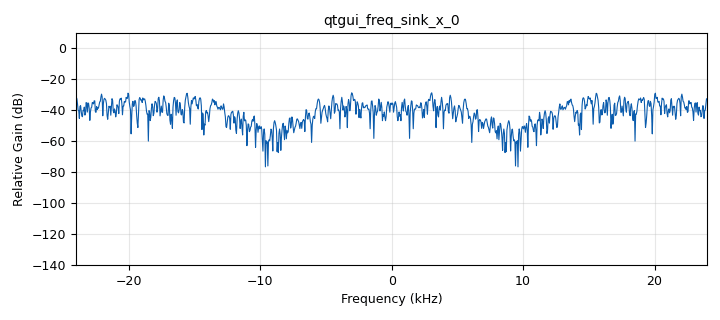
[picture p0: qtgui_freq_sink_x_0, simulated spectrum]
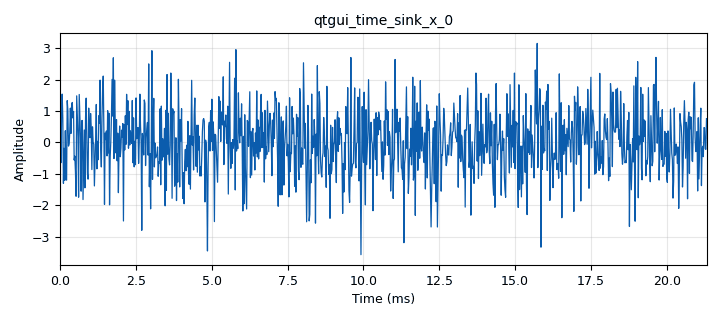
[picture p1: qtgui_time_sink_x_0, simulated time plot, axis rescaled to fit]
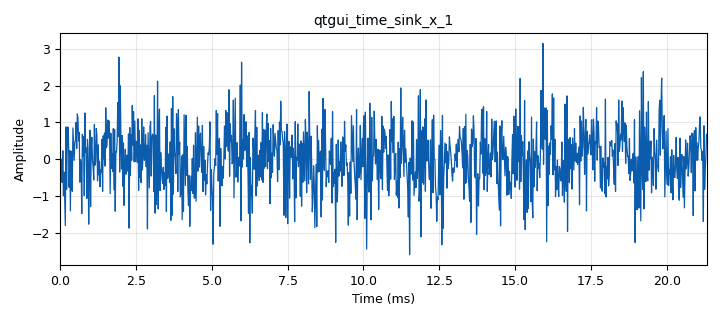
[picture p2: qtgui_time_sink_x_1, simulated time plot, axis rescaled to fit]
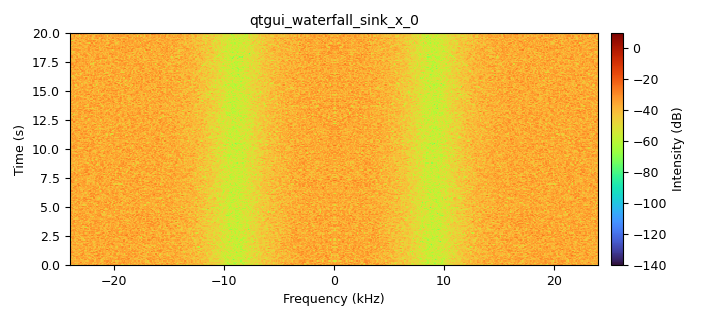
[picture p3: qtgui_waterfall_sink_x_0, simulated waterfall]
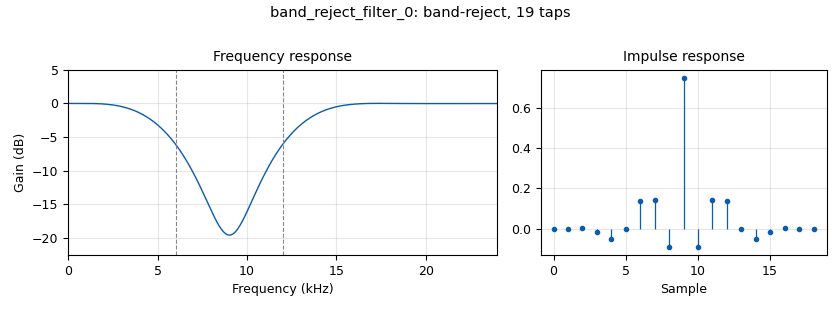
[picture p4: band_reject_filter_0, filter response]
options:
  parameters:
    generate_options: qt_gui
    id: bandstop
    output_language: python
    title: Not titled yet
  states: {}

blocks:
- name: cutoff
  id: variable_qtgui_range
  parameters:
    orient: Qt.Horizontal
    start: samp_rate/1000
    step: '1000'
    stop: samp_rate/2
    value: samp_rate/8
  states: {}
- name: highcut
  id: variable_qtgui_range
  parameters:
    orient: Qt.Horizontal
    start: samp_rate/1000
    step: '1000'
    stop: samp_rate/2
    value: samp_rate/4
  states: {}
- name: samp_rate
  id: variable
  parameters:
    value: '48000'
  states: {}
- name: transition
  id: variable_qtgui_range
  parameters:
    orient: Qt.Horizontal
    start: samp_rate/1000
    step: '1000'
    stop: samp_rate/2
    value: samp_rate/8
  states: {}
- name: analog_noise_source_x_0
  id: analog_noise_source_x
  parameters:
    amp: '1'
    noise_type: analog.GR_GAUSSIAN
    seed: '0'
    type: float
  states: {}
- name: band_reject_filter_0
  id: band_reject_filter
  parameters:
    decim: '1'
    gain: '1'
    high_cutoff_freq: highcut
    low_cutoff_freq: cutoff
    samp_rate: samp_rate
    type: fir_filter_fff
    width: transition
    win: firdes.WIN_HAMMING
  states: {}
- name: blocks_throttle_0
  id: blocks_throttle
  parameters:
    samples_per_second: samp_rate
    type: float
  states: {}
- name: qtgui_freq_sink_x_0
  id: qtgui_freq_sink_x
  parameters:
    bw: samp_rate
    fc: '0'
    fftsize: '1024'
    type: float
    wintype: firdes.WIN_BLACKMAN_hARRIS
  states: {}
- name: qtgui_time_sink_x_0
  id: qtgui_time_sink_x
  parameters:
    size: '1024'
    srate: samp_rate
    type: float
  states: {}
- name: qtgui_time_sink_x_1
  id: qtgui_time_sink_x
  parameters:
    size: '1024'
    srate: samp_rate
    type: float
  states: {}
- name: qtgui_waterfall_sink_x_0
  id: qtgui_waterfall_sink_x
  parameters:
    bw: samp_rate
    fc: '0'
    fftsize: '1024'
    type: float
    wintype: firdes.WIN_BLACKMAN_hARRIS
  states: {}

connections:
- [analog_noise_source_x_0, '0', blocks_throttle_0, '0']
- [band_reject_filter_0, '0', qtgui_freq_sink_x_0, '0']
- [band_reject_filter_0, '0', qtgui_time_sink_x_1, '0']
- [band_reject_filter_0, '0', qtgui_waterfall_sink_x_0, '0']
- [blocks_throttle_0, '0', band_reject_filter_0, '0']
- [blocks_throttle_0, '0', qtgui_time_sink_x_0, '0']

metadata:
  file_format: 1
